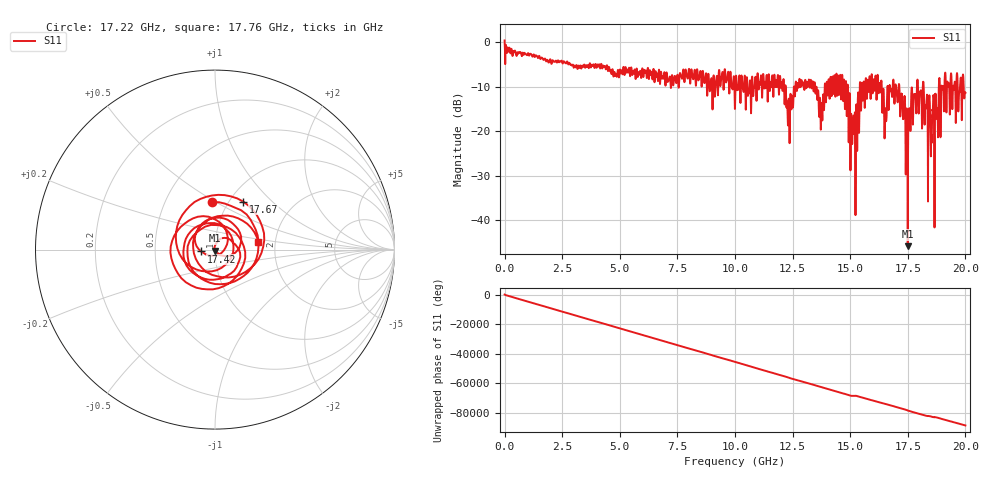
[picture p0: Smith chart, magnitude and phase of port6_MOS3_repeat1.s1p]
! MS46122B
! 2250307/22442219
! 7/25/2025 1:49:38 PM
! C:\USERS\SPARKY\DOCUMENTS\VNA_DATA\JULY25_2025\3K\PORT6_MOS3_REPEAT1.S1P
! CHANNEL.1
! TR.MEASUREMENT
! RAW.DATA
# GHZ S RI R 50.0
! FREQ.GHZ  S11RE  S11IM
!; PortSelection: Port_1
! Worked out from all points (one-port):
!   10001 points, 1 MHz to 20 GHz, reference 50 ohm
!   lowest |S11| = -45.8 dB at 17.5 GHz (marker M1), VSWR 1.01, Z = 50.1 - j0.507 ohm
!   |S11| at or under -10 dB: 14.9 GHz to 15.42 GHz (514.4 MHz wide, 3.39 % of centre); 17.13 GHz to 17.9 GHz (764.5 MHz wide, 4.36 % of centre); 18.19 GHz to 18.85 GHz (656.9 MHz wide, 3.55 % of centre) (the widest 3 of 89)
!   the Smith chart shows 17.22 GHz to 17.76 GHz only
!   S11 on the Smith chart (normalised r, x): 17.22 GHz: 0.85, +0.48; 17.42 GHz: 0.85, -0.02; 17.67 GHz: 1.15, +0.68; 17.76 GHz: 1.63, +0.14
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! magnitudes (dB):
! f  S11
! 1 MHz  0.4
! 2.501 GHz  -4.5
! 5.001 GHz  -6.2
! 7.501 GHz  -7.3
! 10 GHz  -14.7
! 11.79 GHz  -8.5
! 12.31 GHz  -16.8
! 12.5 GHz  -13.4
! 13.29 GHz  -8.4
! 13.73 GHz  -19.5
! 14.48 GHz  -7.5
! 15 GHz  -17.9
! 15.22 GHz  -20.4
! 15.5 GHz  -9.3
! 15.85 GHz  -7.8
! 16.27 GHz  -9.1
! 16.49 GHz  -21.1
! 16.8 GHz  -10.8
! 17.22 GHz  -11.5
! 17.42 GHz  -22.1
! 17.5 GHz  -45.8
! 17.5 GHz  -40.3
! 17.67 GHz  -10.2
! 17.76 GHz  -12.2
! 18.11 GHz  -15.4
! 18.46 GHz  -14.9
! 19.05 GHz  -11.7
! 20 GHz  -11.4
